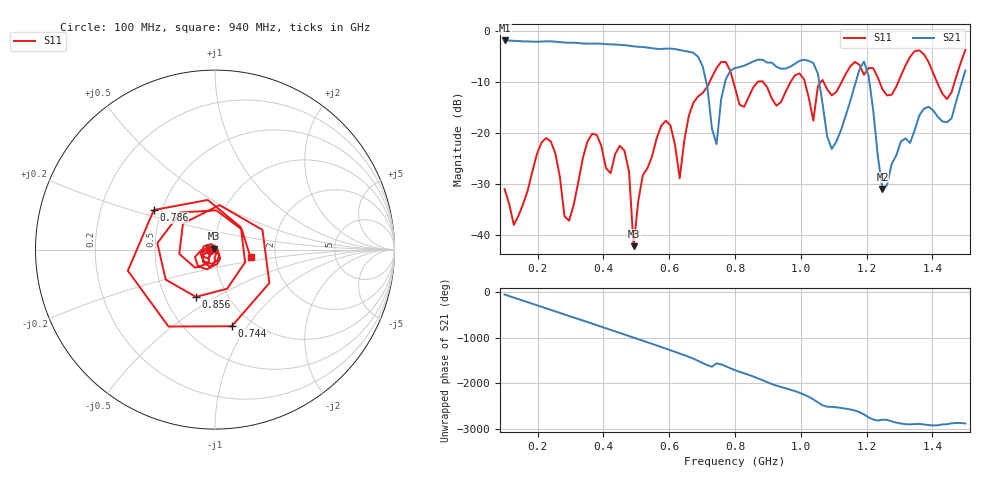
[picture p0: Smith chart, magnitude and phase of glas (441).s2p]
! NanoVNA-App
! Date: 2025-09-25 15:58:54
! Start: 100MHz Stop: 1,5GHz Points: 101
! S-Parameter data: F S11 S21 S12 S22
# Hz S RI R 50
!  Frequency  S11_Real  S11_Imag  S21_Real  S21_Imag  S12_Real  S12_Imag  S22_Real  S22_Imag
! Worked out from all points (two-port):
!   101 points, 100 MHz to 1.5 GHz, reference 50 ohm
!   highest |S21| = -1.80 dB at 100 MHz (marker M1); lowest = -30.9 dB at 1.248 GHz (marker M2)
!   |S21| within 3 dB of the highest: start of sweep to 684.3 MHz
!   lowest |S11| = -42.1 dB at 492 MHz (marker M3), VSWR 1.02, Z = 49.5 + j0.603 ohm
!   |S11| at or under -10 dB: start of sweep to 722.4 MHz; 795.4 MHz to 868.1 MHz (72.69 MHz wide, 8.74 % of centre); 886.3 MHz to 968.3 MHz (82.02 MHz wide, 8.85 % of centre) (the widest 3 of 7)
!   S12 and S22 are empty: the file has one direction only
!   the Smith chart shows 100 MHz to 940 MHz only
!   S11 on the Smith chart (normalised r, x): 100 MHz: 0.95, -0.01; 744 MHz: 0.81, -0.85; 786 MHz: 0.45, +0.24; 856 MHz: 0.71, -0.41; 940 MHz: 1.49, -0.14
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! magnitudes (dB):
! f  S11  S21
! 100 MHz  -30.9  -1.8
! 128 MHz  -37.9  -1.9
! 226 MHz  -20.9  -2.0
! 296 MHz  -37.1  -2.2
! 338 MHz  -24.8  -2.4
! 464 MHz  -23.4  -2.7
! 492 MHz  -42.1  -3.0
! 576 MHz  -18.5  -3.5
! 632 MHz  -28.8  -3.7
! 702 MHz  -12.1  -6.9
! 744 MHz  -7.2  -22.1
! 786 MHz  -7.8  -7.7
! 800 MHz  -11.1  -7.2
! 856 MHz  -10.9  -5.9
! 940 MHz  -13.9  -7.3
! 996 MHz  -8.3  -5.8
! 1.038 GHz  -17.5  -6.2
! 1.094 GHz  -12.6  -23.1
! 1.192 GHz  -8.5  -5.9
! 1.248 GHz  -11.4  -30.9
! 1.276 GHz  -12.4  -26.0
! 1.5 GHz  -3.6  -7.7
